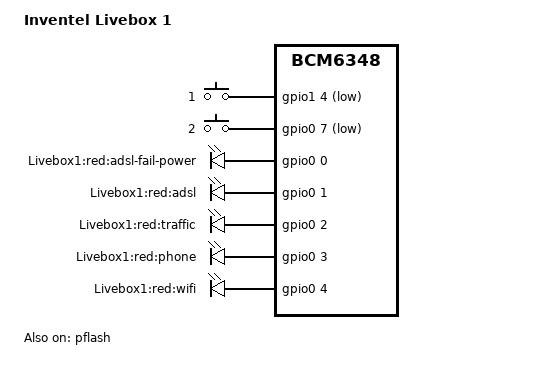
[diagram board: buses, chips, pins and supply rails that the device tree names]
/dts-v1/;

#include "bcm6348.dtsi"

#include <dt-bindings/input/input.h>

/ {
	model = "Inventel Livebox 1";
	compatible = "inventel,livebox-blue-5g", "brcm,bcm6348";

	chosen {
		bootargs = "root=/dev/mtdblock2 rootfstype=squashfs,jffs2 noinitrd console=ttyS0,115200";
	};

	gpio-keys-polled {
		compatible = "gpio-keys-polled";
		#address-cells = <1>;
		#size-cells = <0>;

		poll-interval = <20>;
		debounce-interval = <60>;

		button1 {
			label = "1";
			gpios = <&gpio1 4 1>;
			linux,code = <KEY_RESTART>;
		};

		button2 {
			label = "2";
			gpios = <&gpio0 7 1>;
			linux,code = <BTN_2>;
		};
	};

	gpio-leds {
		compatible = "gpio-leds";

		red_adsl_fail {
			label = "Livebox1:red:adsl-fail-power";
			gpios = <&gpio0 0 0>;
			default-state = "on";
		};

		red_adsl {
			label = "Livebox1:red:adsl";
			gpios = <&gpio0 1 0>;
		};

		red_traffic {
			label = "Livebox1:red:traffic";
			gpios = <&gpio0 2 0>;
		};

		red_phone {
			label = "Livebox1:red:phone";
			gpios = <&gpio0 3 0>;
		};

		red_wifi {
			label = "Livebox1:red:wifi";
			gpios = <&gpio0 4 0>;
		};
	};
};

&pflash {
	reg = <0x1e400000 0x800000>;
	status = "ok";

	linux,part-probe = "RedBoot";
};
